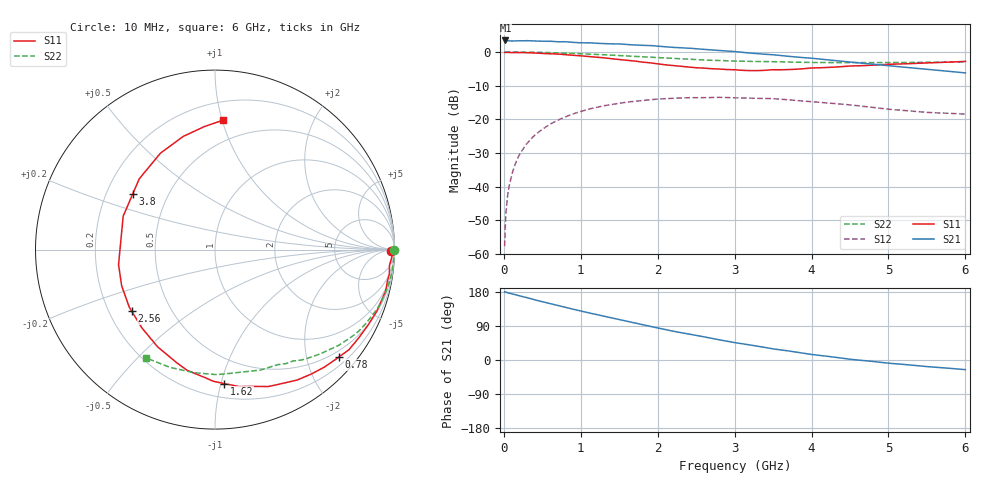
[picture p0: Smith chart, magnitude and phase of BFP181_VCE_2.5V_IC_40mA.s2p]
! Infineon Technologies  Discrete & RF Semiconductors
! BFP181
! VCE = 2.5 V,  IC =  40 mA
! Common Emitter S-Parameters:  Jan 2016
# GHz  S  MA  R  50
!  f  S11  S21  S12  S22
! GHz  MAG  ANG  MAG  ANG  MAG  ANG  MAG  ANG
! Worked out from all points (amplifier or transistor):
!   210 points, 10 MHz to 6 GHz, reference 50 ohm
!   highest |S21| = 3.4 dB at 20 MHz (marker M1)
!   |S21| within 3 dB of that: start of sweep to 2.818 GHz
!   unconditionally stable (mu >= 1): 3.743 GHz to end of sweep
!   at 185 MHz: K = 0.06, MSG = 17.3 dB, |S12| = -31.4 dB
!   at 1.52 GHz: K = 0.45, MSG = 8.8 dB, |S12| = -15.2 dB
!   at 6 GHz: K = 1.52, MAG = 1.9 dB, |S12| = -18.5 dB
!   S11 on the Smith chart (normalised r, x): 10 MHz: 83, -48; 780 MHz: 0.36, -2.64; 1.62 GHz: 0.30, -1.03; 2.56 GHz: 0.30, -0.30; 3.8 GHz: 0.31, +0.28; 6 GHz: 0.33, +1.01
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0.01  0.9821 -0.6  1.467 179.8  0.0013 87.7  0.9999 -0.2
0.02  0.9858 -1.2  1.481 179.6  0.0028 84.1  0.9919 -0.5
0.03  0.986 -1.6  1.478 178.9  0.0044 88.5  0.9938 -0.8
0.04  0.9862 -2.0  1.475 178.2  0.0059 90.5  0.9957 -1.0
0.07  0.982 -3.5  1.463 176.5  0.0103 89.3  0.9976 -1.8
0.12  0.9777 -6.3  1.456 173.9  0.0174 85.9  0.9975 -3.1
0.2  0.9762 -10.5  1.466 169.6  0.0293 82.5  0.9966 -5.2
0.4  0.9646 -20.8  1.456 158.9  0.0576 74.8  0.9894 -10.3
0.78  0.914 -40.8  1.417 140.1  0.1061 60.4  0.9626 -19.7
1.02  0.8722 -53.5  1.367 128.5  0.1323 51.8  0.9387 -25.3
1.3  0.8188 -68.7  1.332 115.6  0.1585 42.0  0.9091 -31.6
1.62  0.7489 -86.0  1.284 101.3  0.1807 32.6  0.8701 -37.9
2.02  0.6609 -109.7  1.217 83.7  0.2 21.3  0.823 -45.1
2.56  0.5772 -143.4  1.101 62.7  0.209 7.8  0.7627 -54.2
2.8  0.5579 -158.7  1.053 53.2  0.2117 2.1  0.7486 -58.0
3.1  0.5331 -176.8  0.987 42.9  0.2068 -4.3  0.7267 -62.9
3.5  0.5444 160.0  0.908 29.4  0.2026 -11.9  0.717 -69.4
3.8  0.5535 145.8  0.84 20.9  0.1905 -16.2  0.7033 -75.0
4.1  0.5809 133.3  0.785 12.3  0.179 -20.4  0.6958 -80.9
4.5  0.6173 119.5  0.711 2.0  0.1633 -25.0  0.6968 -89.2
5.1  0.6596 103.5  0.608 -10.0  0.138 -26.1  0.6952 -102.2
6  0.7228 86.4  0.488 -25.5  0.1194 -18.4  0.7151 -122.3
